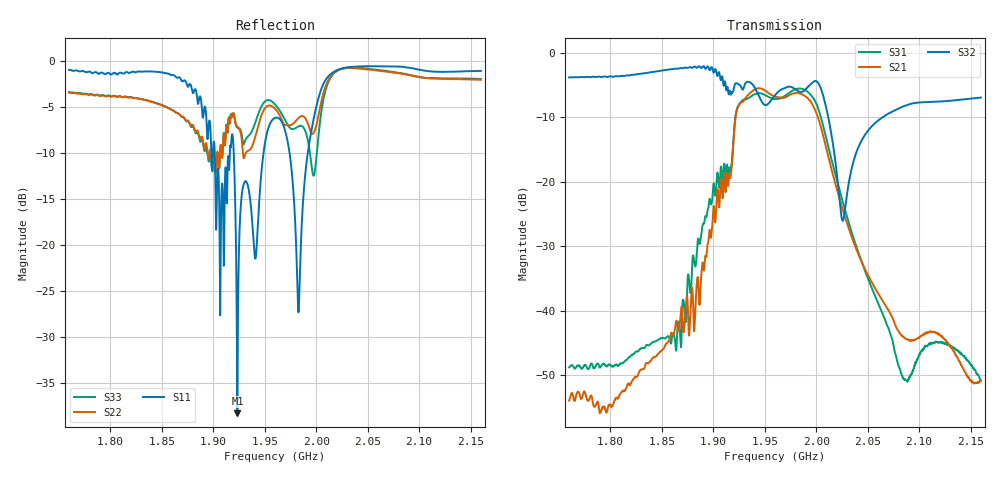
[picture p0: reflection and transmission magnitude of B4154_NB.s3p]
! Matrix data file written by TouchstoneData, EPCOS AG
! FILENAME: "B4154_NB.s3p"
! COMMENT: "(B4154_SAWi_NB.s3p) EPCOS AG 19.02.2010 14:2"
! INFO: nport=3, nfreq=1601
! DATE: "Fri Feb 19 14:20:23 2010"
! USER: "Aleksander Breg"
! port | pin | signal
!  1  |  2  |  input
!  2  |  4  |  output
!  3  |  6  |  output
# MHZ S MA R 50
! freq  magS11 angS11  magS12 angS12  magS13 angS13  ...
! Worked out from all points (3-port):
!   1601 points, 1.76 GHz to 2.16 GHz, reference 50 ohm
!   strongest paths, dB at 1.76 GHz, 1.86 GHz, 1.96 GHz, 2.06 GHz, 2.16 GHz:
!     S32: -3.8, -2.5, -6.6, -10.5, -6.9
!     S21: -53.9, -43.5, -6.8, -37.2, -50.9
!     S31: -48.8, -44.1, -7.2, -38.8, -50.8
!   lowest |S11| = -38.2 dB at 1.923 GHz (marker M1), VSWR 1.02, Z = 50.2 - j1.2 ohm
!   |S11| at or under -10 dB: 1.901 GHz to 1.916 GHz (14.55 MHz wide, 0.762 % of centre); 1.92 GHz to 1.949 GHz (28.84 MHz wide, 1.49 % of centre); 1.974 GHz to 1.992 GHz (17.6 MHz wide, 0.887 % of centre) (the widest 3 of 4)
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1760  0.8969 -117.0  0.002013 21.8  0.003639 -23.2
      0.002013 21.8  0.6743 -93.0  0.6458 -9.2
      0.003639 -23.2  0.6458 -9.2  0.679 -97.8
1863.25  0.8268 -154.0  0.007574 -18.0  0.005448 -22.1
         0.007574 -18.0  0.5287 -104.7  0.7543 -23.4
         0.005448 -22.1  0.7543 -23.4  0.5297 -110.7
1918.25  0.3997 -110.6  0.1355 59.3  0.145 -115.6
         0.1355 59.3  0.5076 -73.6  0.4868 -41.4
         0.145 -115.6  0.4868 -41.4  0.5135 -77.5
1923.5  0.01225 -77.6  0.3702 16.2  0.3765 -160.0
        0.3702 16.2  0.4404 -85.8  0.5784 -42.3
        0.3765 -160.0  0.5784 -42.3  0.4359 -85.6
1940.25  0.08836 -81.5  0.52 -96.9  0.4776 77.6
         0.52 -96.9  0.3785 -55.3  0.5394 -53.7
         0.4776 77.6  0.5394 -53.7  0.4534 -64.6
1960  0.4919 -73.7  0.4577 164.6  0.4381 -24.8
      0.4577 164.6  0.552 -73.0  0.4696 -33.6
      0.4381 -24.8  0.4696 -33.6  0.583 -85.3
1983  0.04408 -55.0  0.4866 61.3  0.529 -127.2
      0.4866 61.3  0.4932 -61.8  0.5031 -49.4
      0.529 -127.2  0.5031 -49.4  0.4435 -78.2
2025.75  0.9147 -59.8  0.06118 -142.3  0.07023 39.2
         0.06118 -142.3  0.9101 -59.6  0.04988 -49.7
         0.07023 39.2  0.04988 -49.7  0.9147 -60.9
2085.25  0.9303 -89.8  0.006241 178.9  0.002943 5.1
         0.006241 178.9  0.8513 -82.9  0.3865 1.1
         0.002943 5.1  0.3865 1.1  0.8545 -87.8
2160  0.8852 -100.1  0.002852 -179.7  0.002876 -107.4
      0.002852 -179.7  0.7924 -88.5  0.4503 -7.9
      0.002876 -107.4  0.4503 -7.9  0.8008 -94.3
